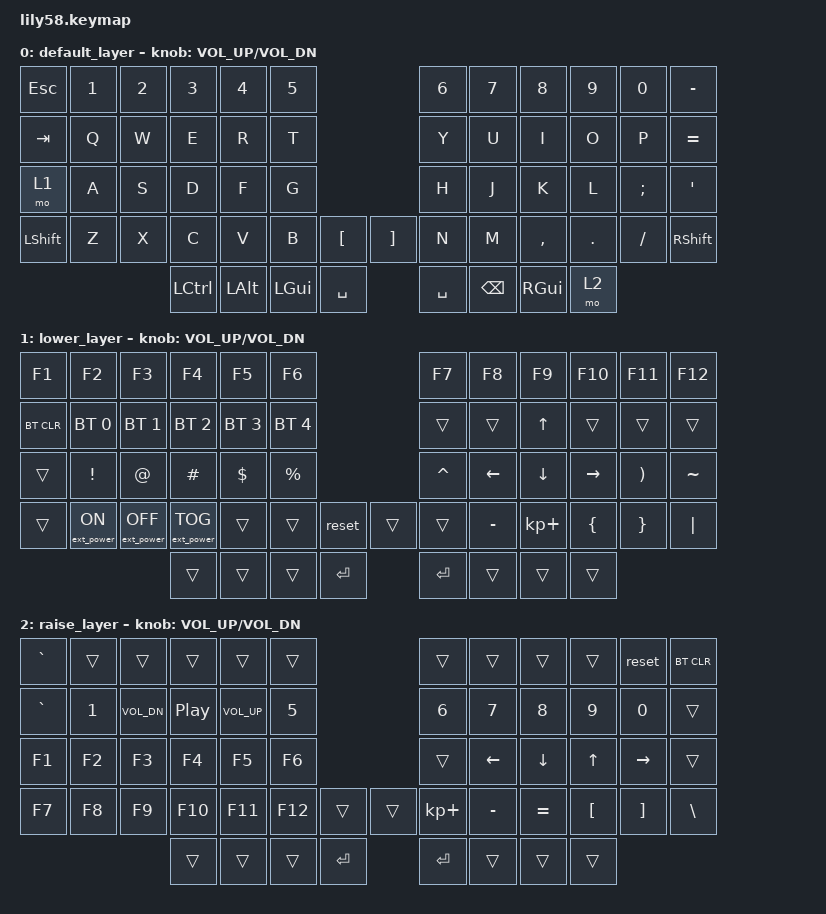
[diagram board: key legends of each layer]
/*
 * Copyright (c) 2020 The ZMK Contributors
 *
 * SPDX-License-Identifier: MIT
 * enter = RET
 * ctrl = LCTRL
 * alt = LALT
 * command/windows? = LGUI
 * lower = &mo 1
 * raise = &mo 2
 * ` = GRAVE
 */

#include <behaviors.dtsi>
#include <dt-bindings/zmk/keys.h>
#include <dt-bindings/zmk/bt.h>
#include <dt-bindings/zmk/ext_power.h>

/ {
	keymap {
		compatible = "zmk,keymap";

		default_layer {
// ------------------------------------------------------------------------------------------------------------
// |  ESC  |  1  |  2  |  3   |  4   |  5   |                   |  6   |  7    |  8    |  9   |   0   |   -   |
// |  TAB  |  Q  |  W  |  E   |  R   |  T   |                   |  Y   |  U    |  I    |  O   |   P   |   =/+   |
// |  LOWER |  A  |  S  |  D   |  F   |  G   |                   |  H   |  J    |  K    |  L   |   ;   |   '   |
// | SHIFT |  Z  |  X  |  C   |  V   |  B   |   "["  |  |  "]"  |  N   |  M    |  ,    |  .   |   /   | SHIFT |
//                    | CTRL | ALT  | GUI  |  SPACE |  | SPACE |  BSPC  | GUI   | RAISE|
			bindings = <
&kp ESC   &kp N1 &kp N2 &kp N3   &kp N4   &kp N5                     &kp N6 &kp N7   &kp N8    &kp N9  &kp N0   &kp MINUS
&kp TAB   &kp Q  &kp W  &kp E    &kp R    &kp T                      &kp Y  &kp U    &kp I     &kp O   &kp P    &kp EQUAL
&mo 1 &kp A  &kp S  &kp D    &kp F    &kp G                      &kp H  &kp J    &kp K     &kp L   &kp SEMI &kp SQT
&kp LSHFT &kp Z  &kp X  &kp C    &kp V    &kp B  &kp LBKT   &kp RBKT &kp N  &kp M    &kp COMMA &kp DOT &kp FSLH &kp RSHFT
                        &kp LCTRL &kp LALT &kp LGUI  &kp SPACE  &kp SPACE &kp BSPC &kp RGUI  &mo 2
			>;

			sensor-bindings = <&inc_dec_kp C_VOL_UP C_VOL_DN>;
		};

		lower_layer {
// ------------------------------------------------------------------------------------------------------------
// |  F1   |  F2 |  F3 |  F4  |  F5  |  F6  |                   |  F7  |  F8   |  F9   |  F10 |  F11  |  F12  |
// | BTCLR | BT1 | BT2 |  BT3 |  BT4 |  BT5 |                   |      |       |   up  |      |       |       |
// |       |  !  |  @  |  #   |  $   |  %   |                   |  ^   | left |  down  | right|   )   |   ~   |
// |       | pwr | pwr | pwr  |      |      |  reset |  |       |      |  _    |  +    |  {   |   }   |  "|"  |
//                     |      |      |      |        |  |       |      |       |       |
			bindings = <
&kp F1     &kp F2           &kp F3            &kp F4            &kp F5       &kp F6                       &kp F7    &kp F8    &kp F9          &kp F10   &kp F11   &kp F12
&bt BT_CLR &bt BT_SEL 0     &bt BT_SEL 1      &bt BT_SEL 2      &bt BT_SEL 3 &bt BT_SEL 4                 &trans    &trans    &kp UP          &trans    &trans    &trans
&trans     &kp EXCL         &kp AT            &kp HASH          &kp DOLLAR   &kp PRCNT                    &kp CARET &kp LEFT  &kp DOWN     &kp RIGHT  &kp RPAR  &kp TILDE
&trans     &ext_power EP_ON &ext_power EP_OFF &ext_power EP_TOG &trans       &trans    &reset   &trans    &trans    &kp MINUS &kp KP_PLUS     &kp LBRC  &kp RBRC  &kp PIPE
                                              &trans            &trans       &trans    &kp RET   &kp RET    &trans    &trans    &trans
			>;

			sensor-bindings = <&inc_dec_kp C_VOL_UP C_VOL_DN>;
		};

		raise_layer {
// ------------------------------------------------------------------------------------------------------------
// |   `   |     |     |      |      |      |                   |      |       |       |      | reset |clear bt profile |
// |   `   |  1  |  2  |  Play/Pause |  4   |  5   |            |  6   |   7   |   8   |  9   |   0   |       |
// |   F1  |  F2 |  F3 |  F4  |  F5  |  F6  |                   |      |   <-  |   v   |  ^   |  ->   |       |
// |   F7  |  F8 |  F9 |  F10 |  F11 |  F12 |        |  |       |  +   |   -   |   =   |  [   |   ]   |   \   |
//                     |      |      |      |        |  |       |      |       |       |
			bindings = <
&kp GRAVE    &trans &trans &trans  &trans  &trans                       &trans      &trans    &trans    &trans   &reset    &bt BT_CLR
&kp GRAVE &kp N1 &kp C_VOL_DN &kp C_PLAY_PAUSE  &kp C_VOL_UP  &kp N5                       &kp N6      &kp N7    &kp N8    &kp N9   &kp N0    &trans
&kp F1    &kp F2 &kp F3 &kp F4  &kp F5  &kp F6                       &trans      &kp LEFT  &kp DOWN  &kp UP   &kp RIGHT &trans
&kp F7    &kp F8 &kp F9 &kp F10 &kp F11 &kp F12   &trans   &trans    &kp KP_PLUS &kp MINUS &kp EQUAL &kp LBKT &kp RBKT  &kp BSLH
                        &trans  &trans  &trans    &kp RET   &kp RET    &trans      &trans    &trans
			>;

			sensor-bindings = <&inc_dec_kp C_VOL_UP C_VOL_DN>;
		};
	};
};
